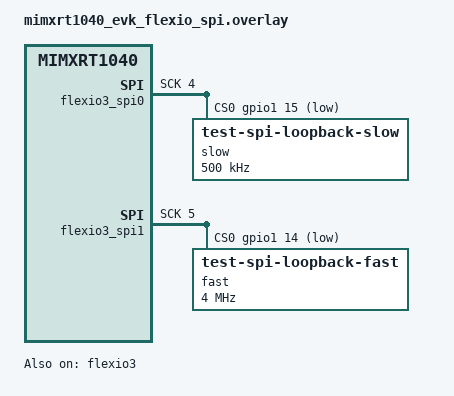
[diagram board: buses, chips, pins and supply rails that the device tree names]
/*
 * Copyright (c) 2024, STRIM, ALC
 * Copyright 2025 NXP
 * SPDX-License-Identifier: Apache-2.0
 */

/* Connect J16-7 to J16-8
 * Connect J17-9 to J17-10
 */
&pinctrl {
	pinmux_flexio3spi0: pinmux_flexio3spi0 {
		group0 {
			pinmux =
				<&iomuxc_gpio_ad_b0_15_gpio1_io15>, /* cs */
				<&iomuxc_gpio_ad_b1_04_flexio3_flexio04>, /* sck */
				<&iomuxc_gpio_ad_b1_01_flexio3_flexio01>, /* sdo */
				<&iomuxc_gpio_ad_b1_00_flexio3_flexio00>; /* sdi */
			drive-strength = "r0-6";
			slew-rate = "slow";
			nxp,speed = "150-mhz";
		};
	};
	pinmux_flexio3spi1: pinmux_flexio3spi1 {
		group0 {
			pinmux =
				<&iomuxc_gpio_ad_b0_14_gpio1_io14>, /* cs */
				<&iomuxc_gpio_ad_b1_05_flexio3_flexio05>, /* sck */
				<&iomuxc_gpio_ad_b1_03_flexio3_flexio03>, /* sdo */
				<&iomuxc_gpio_ad_b1_02_flexio3_flexio02>; /* sdi */
			drive-strength = "r0-6";
			slew-rate = "slow";
			nxp,speed = "150-mhz";
		};
	};
};

&flexio3 {
	status = "okay";
	flexio3_spi0: flexio3_spi0 {
		compatible = "nxp,flexio-spi";
		status = "okay";
		#address-cells = <1>;
		#size-cells = <0>;
		cs-gpios = <&gpio1 15 GPIO_ACTIVE_LOW>;
		sdo-pin = <1>;
		sdi-pin = <0>;
		sck-pin = <4>;
		pinctrl-0 = <&pinmux_flexio3spi0>;
		pinctrl-names = "default";
		slow@0 {
			status = "okay";
			compatible = "test-spi-loopback-slow";
			reg = <0>;
			spi-max-frequency = <500000>;
		};
	};
	flexio3_spi1: flexio3_spi1 {
		compatible = "nxp,flexio-spi";
		status = "okay";
		#address-cells = <1>;
		#size-cells = <0>;
		cs-gpios = <&gpio1 14 GPIO_ACTIVE_LOW>;
		sdo-pin = <3>;
		sdi-pin = <2>;
		sck-pin = <5>;
		pinctrl-0 = <&pinmux_flexio3spi1>;
		pinctrl-names = "default";
		fast@0 {
			status = "okay";
			compatible = "test-spi-loopback-fast";
			reg = <0>;
			spi-max-frequency = <4000000>;
		};
	};
};

/* pinmux_lpspi3 overlaps pinmux_flexio3spi1 */
&lpspi3 {
	status = "disabled";
};
